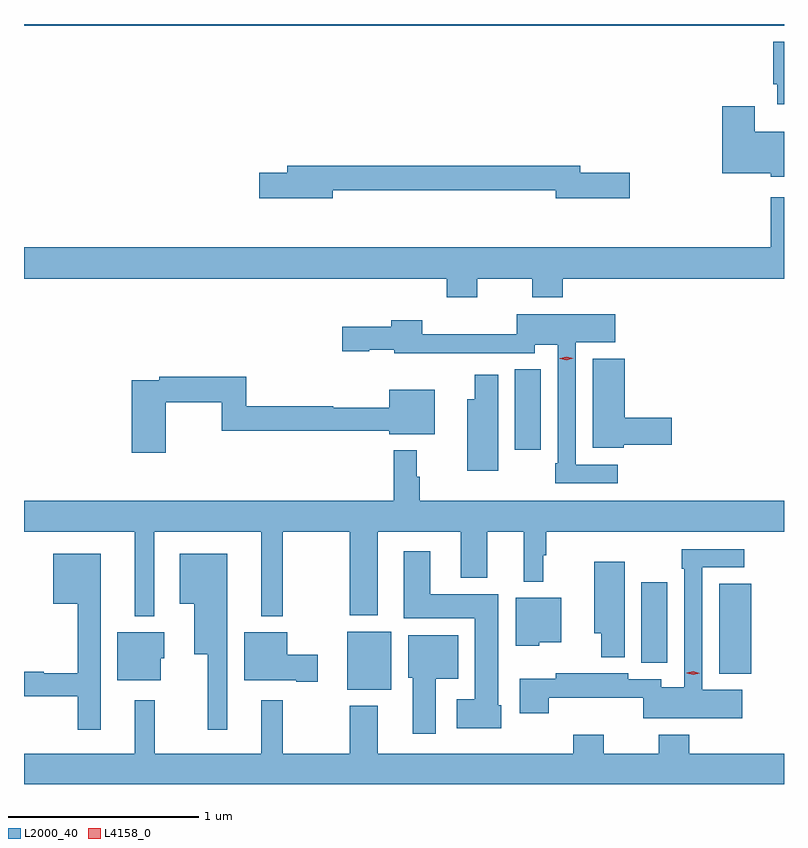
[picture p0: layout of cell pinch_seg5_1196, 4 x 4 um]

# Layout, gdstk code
import gdstk
lib = gdstk.Library(unit=1e-6, precision=1e-09)
def R(c, l, rs):  # rectangles x0, y0, x1, y1
    for r in rs: c.add(gdstk.rectangle(r[:2], r[2:], *l))
def P(c, l, *ps):  # polygons
    for p in ps: c.add(gdstk.Polygon(p, *l))
L2000_40 = (2000, 40)
L4158_0 = (4158, 0)

pinch_seg5_1196 = lib.new_cell('pinch_seg5_1196')
R(pinch_seg5_1196, L2000_40, [(435.53,899.885,435.763,900.19), (437.489,899.969,437.656,900.443), (437.078,900.025,437.215,900.451), (436.412,901.146,436.549,901.571), (433.829,903.38,437.829,903.388)])
P(pinch_seg5_1196, L2000_40, [(437.829,903.295),(437.773,903.295),(437.773,903.07),(437.793,903.07),(437.793,902.966),(437.829,902.966)],
  [(437.829,902.821),(437.674,902.821),(437.674,902.956),(437.504,902.956),(437.504,902.603),(437.76,902.603),(437.76,902.585),(437.829,902.585)],
  [(435.454,902.514),(436.628,902.514),(436.628,902.471),(437.017,902.471),(437.017,902.606),(436.756,902.606),(436.756,902.642),(435.215,902.642),(435.215,902.606),(435.066,902.606),(435.066,902.471),(435.454,902.471)],
  [(436.215,902.048),(436.504,902.048),(436.504,901.949),(436.664,901.949),(436.664,902.048),(437.829,902.048),(437.829,902.476),(437.759,902.476),(437.759,902.212),(433.829,902.212),(433.829,902.048),(436.055,902.048),(436.055,901.949),(436.215,901.949)],
  [(436.954,901.068),(436.734,901.068),(436.734,901.712),(436.942,901.712),(436.942,901.861),(436.422,901.861),(436.422,901.754),(435.926,901.754),(435.926,901.828),(435.761,901.828),(435.761,901.795),(435.504,901.795),(435.504,901.666),(435.647,901.666),(435.647,901.673),(435.777,901.673),(435.777,901.655),(436.009,901.655),(436.009,901.656),(436.518,901.656),(436.518,901.7),(436.638,901.7),(436.638,901.075),(436.626,901.075),(436.626,900.972),(436.954,900.972)],
  [(436.986,901.174),(437.239,901.174),(437.239,901.316),(436.99,901.316),(436.99,901.627),(436.823,901.627),(436.823,901.157),(436.986,901.157)],
  [(436.324,901.543),(436.202,901.543),(436.202,901.414),(436.163,901.414),(436.163,901.037),(436.324,901.037)],
  [(434.574,901.396),(434.871,901.396),(434.871,901.248),(435.752,901.248),(435.752,901.229),(435.991,901.229),(435.991,901.462),(435.752,901.462),(435.752,901.369),(435.456,901.369),(435.456,901.376),(434.999,901.376),(434.999,901.532),(434.542,901.532),(434.542,901.512),(434.396,901.512),(434.396,901.131),(434.574,901.131)],
  [(435.911,901.004),(435.896,901.004),(435.896,901.144),(435.775,901.144),(435.775,900.88),(433.829,900.88),(433.829,900.716),(434.411,900.716),(434.411,900.272),(434.515,900.272),(434.515,900.716),(435.077,900.716),(435.077,900.272),(435.191,900.272),(435.191,900.716),(435.544,900.716),(435.544,900.275),(435.691,900.275),(435.691,900.716),(436.127,900.716),(436.127,900.473),(436.267,900.473),(436.267,900.716),(436.46,900.716),(436.46,900.453),(436.562,900.453),(436.562,900.593),(436.577,900.593),(436.577,900.716),(437.829,900.716),(437.829,900.88),(435.911,900.88)],
  [(437.608,899.884),(437.4,899.884),(437.4,900.528),(437.62,900.528),(437.62,900.624),(437.292,900.624),(437.292,900.521),(437.304,900.521),(437.304,899.896),(437.184,899.896),(437.184,899.94),(437.008,899.94),(437.008,899.971),(436.628,899.971),(436.628,899.941),(436.439,899.941),(436.439,899.76),(436.592,899.76),(436.592,899.843),(437.088,899.843),(437.088,899.735),(437.608,899.735)],
  [(436.342,899.802),(436.324,899.802),(436.324,900.388),(435.967,900.388),(435.967,900.613),(435.827,900.613),(435.827,900.26),(436.202,900.26),(436.202,899.833),(436.107,899.833),(436.107,899.681),(436.342,899.681)],
  [(434.233,900.601),(433.982,900.601),(433.982,900.338),(434.112,900.338),(434.112,899.971),(433.933,899.971),(433.933,899.978),(433.829,899.978),(433.829,899.85),(434.112,899.85),(434.112,899.673),(434.233,899.673)],
  [(434.899,900.601),(434.648,900.601),(434.648,900.338),(434.726,900.338),(434.726,900.071),(434.795,900.071),(434.795,899.673),(434.899,899.673)],
  [(436.99,900.559),(436.829,900.559),(436.829,900.182),(436.868,900.182),(436.868,900.056),(436.99,900.056)],
  [(436.542,900.134),(436.657,900.134),(436.657,900.367),(436.418,900.367),(436.418,900.116),(436.542,900.116)],
  [(435.376,900.068),(435.214,900.068),(435.214,900.187),(434.987,900.187),(434.987,899.933),(435.263,899.933),(435.263,899.926),(435.376,899.926)],
  [(434.548,900.051),(434.566,900.051),(434.566,900.187),(434.321,900.187),(434.321,899.933),(434.548,899.933)],
  [(435.997,899.942),(436.114,899.942),(436.114,900.172),(435.851,900.172),(435.851,899.946),(435.875,899.946),(435.875,899.652),(435.997,899.652)],
  [(437.829,899.548),(437.33,899.548),(437.33,899.647),(437.17,899.647),(437.17,899.548),(436.881,899.548),(436.881,899.647),(436.721,899.647),(436.721,899.548),(435.691,899.548),(435.691,899.8),(435.544,899.8),(435.544,899.548),(435.191,899.548),(435.191,899.83),(435.077,899.83),(435.077,899.548),(434.518,899.548),(434.518,899.83),(434.411,899.83),(434.411,899.548),(433.829,899.548),(433.829,899.388),(437.829,899.388)])
P(pinch_seg5_1196, L4158_0, [(437.351,899.962),(437.316,899.972),(437.316,899.972),(437.316,899.973),(437.351,899.982),(437.386,899.971),(437.386,899.971),(437.386,899.971)],
  [(436.685,901.618),(436.65,901.627),(436.65,901.628),(436.65,901.628),(436.685,901.638),(436.72,901.629),(436.72,901.629),(436.72,901.629)])

lib.write_gds('pinch_seg5_1196.gds')
